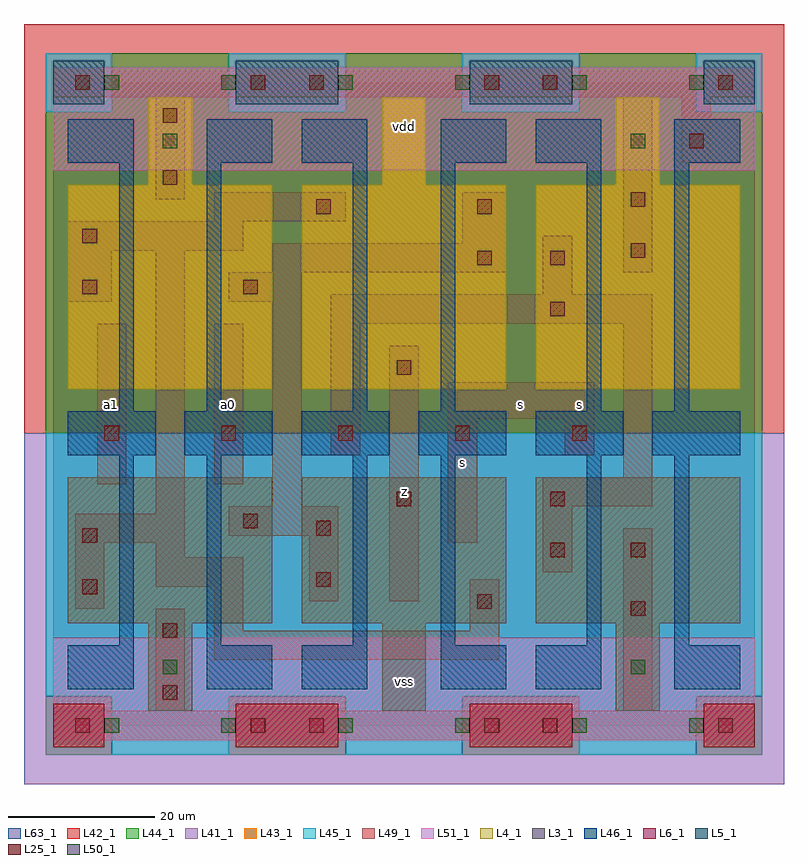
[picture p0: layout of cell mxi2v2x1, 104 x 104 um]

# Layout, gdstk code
import gdstk
lib = gdstk.Library(unit=1e-6, precision=1e-09)
def R(c, l, rs):  # rectangles x0, y0, x1, y1
    for r in rs: c.add(gdstk.rectangle(r[:2], r[2:], *l))
def A(c, l, x, y, w, h, nx, ny, dx, dy):  # array of equal rectangles
    R(c, l, [(x+i*dx, y+j*dy, x+i*dx+w, y+j*dy+h) for i in range(nx) for j in range(ny)])
L3_1 = (3, 1)
L4_1 = (4, 1)
L5_1 = (5, 1)
L6_1 = (6, 1)
L25_1 = (25, 1)
L41_1 = (41, 1)
L42_1 = (42, 1)
L43_1 = (43, 1)
L44_1 = (44, 1)
L45_1 = (45, 1)
L46_1 = (46, 1)
L49_1 = (49, 1)
L50_1 = (50, 1)
L51_1 = (51, 1)
L63_1 = (63, 1)

mxi2v2x1 = lib.new_cell('mxi2v2x1')
A(mxi2v2x1, L3_1, 13, 2, 6, 12, 3, 1, 32, 0)
A(mxi2v2x1, L3_1, 2, 14, 28, 20, 3, 1, 32, 0)
A(mxi2v2x1, L4_1, 2, 46, 28, 28, 3, 1, 32, 0)
A(mxi2v2x1, L4_1, 13, 74, 6, 12, 3, 1, 32, 0)
R(mxi2v2x1, L5_1, [(0,85,7,91), (25,85,39,91), (57,85,71,91), (89,85,96,91)])
R(mxi2v2x1, L6_1, [(0,-3,7,3), (0,-3,7,3), (25,-3,39,3), (25,-3,39,3), (57,-3,71,3), (57,-3,71,3), (89,-3,96,3), (89,-3,96,3)])
A(mxi2v2x1, L25_1, 7, 39, 2, 2, 5, 1, 16, 0)
R(mxi2v2x1, L25_1, [(3,-1,5,1), (27,-1,29,1), (35,-1,37,1), (59,-1,61,1), (67,-1,69,1), (91,-1,93,1), (15,3.5,17,5.5), (15,12,17,14), (79,15,81,17), (58,16,60,18), (4,18,6,20), (36,19,38,21), (68,23,70,25), (79,23,81,25), (4,25,6,27), (36,26,38,28), (26,27,28,29), (47,30,49,32), (68,30,70,32), (47,48,49,50), (68,56,70,58), (4,59,6,61), (26,59,28,61), (58,63,60,65), (68,63,70,65), (79,64,81,66), (4,66,6,68), (36,70,38,72), (58,70,60,72), (79,71,81,73), (15,74,17,76), (87,79,89,81), (15,82.5,17,84.5), (3,87,5,89), (27,87,29,89), (35,87,37,89), (59,87,61,89), (67,87,69,89), (91,87,93,89)])
R(mxi2v2x1, L41_1, [(-4,-8,100,40)])
R(mxi2v2x1, L42_1, [(-4,40,100,96)])
A(mxi2v2x1, L43_1, 13, 2, 6, 12, 3, 2, 32, 72)
A(mxi2v2x1, L43_1, 2, 14, 28, 20, 3, 1, 32, 0)
A(mxi2v2x1, L43_1, 2, 46, 28, 28, 3, 1, 32, 0)
R(mxi2v2x1, L43_1, [(0,-3,7,3), (25,-3,39,3), (57,-3,71,3), (89,-3,96,3), (0,85,7,91), (25,85,39,91), (57,85,71,91), (89,85,96,91)])
A(mxi2v2x1, L44_1, 8, 84, 16, 8, 3, 1, 32, 0)
R(mxi2v2x1, L44_1, [(-1,-4,8,4), (24,-4,40,4), (56,-4,72,4), (88,-4,97,4), (-1,40,97,84)])
A(mxi2v2x1, L45_1, 8, -4, 16, 8, 3, 1, 32, 0)
R(mxi2v2x1, L45_1, [(-1,4,97,40), (-1,84,8,92), (24,84,40,92), (56,84,72,92), (88,84,97,92)])
A(mxi2v2x1, L46_1, 2, 37, 12, 6, 6, 1, 16, 0)
R(mxi2v2x1, L46_1, [(2,5,11,11), (21,5,30,11), (34,5,43,11), (53,5,62,11), (66,5,75,11), (85,5,94,11), (9,11,11,37), (21,11,23,37), (41,11,43,37), (53,11,55,37), (73,11,75,37), (85,11,87,37), (9,43,11,77), (21,43,23,77), (41,43,43,77), (53,43,55,77), (73,43,75,77), (85,43,87,77), (2,77,11,83), (21,77,30,83), (34,77,43,83), (53,77,62,83), (66,77,75,83), (85,77,94,83)])
R(mxi2v2x1, L49_1, [(0,-2,96,2), (14,2,18,16), (78,2,82,27), (22,9,61,13), (22,13,26,19), (57,13,61,20), (3,16,7,25), (35,17,39,26), (46,17,50,52), (14,19,26,23), (67,21,71,30), (14,23,18,25), (3,25,18,29), (54,25,58,42), (24,26,39,30), (14,29,18,65), (30,30,34,58), (67,30,82,34), (6,33,10,55), (22,33,26,55), (78,34,82,55), (38,37,42,55), (70,37,74,42), (54,42,74,47), (38,55,82,59), (2,58,8,65), (24,58,34,62), (67,59,71,67), (30,62,62,66), (78,62,82,86), (2,65,26,69), (56,66,62,73), (22,69,40,73), (14,72,18,86), (86,77,90,86), (0,86,96,90)])
A(mxi2v2x1, L50_1, 7, -1, 2, 2, 6, 2, 16, 88)
R(mxi2v2x1, L50_1, [(15,7,17,9), (79,7,81,9), (15,79,17,81), (79,79,81,81)])
R(mxi2v2x1, L51_1, [(0,-2,96,12), (0,76,96,90)])
R(mxi2v2x1, L63_1, [(0,0,96,88)])
mxi2v2x1.add(gdstk.Label('a1', (8,44), layer=49, texttype=1))
mxi2v2x1.add(gdstk.Label('a0', (24,44), layer=49, texttype=1))
mxi2v2x1.add(gdstk.Label('z', (48,32), layer=49, texttype=1))
mxi2v2x1.add(gdstk.Label('s', (56,36), layer=49, texttype=1))
mxi2v2x1.add(gdstk.Label('s', (64,44), layer=49, texttype=1))
mxi2v2x1.add(gdstk.Label('s', (72,44), layer=49, texttype=1))
mxi2v2x1.add(gdstk.Label('vss', (48,6), layer=51, texttype=1))
mxi2v2x1.add(gdstk.Label('vdd', (48,82), layer=51, texttype=1))

lib.write_gds('mxi2v2x1.gds')
